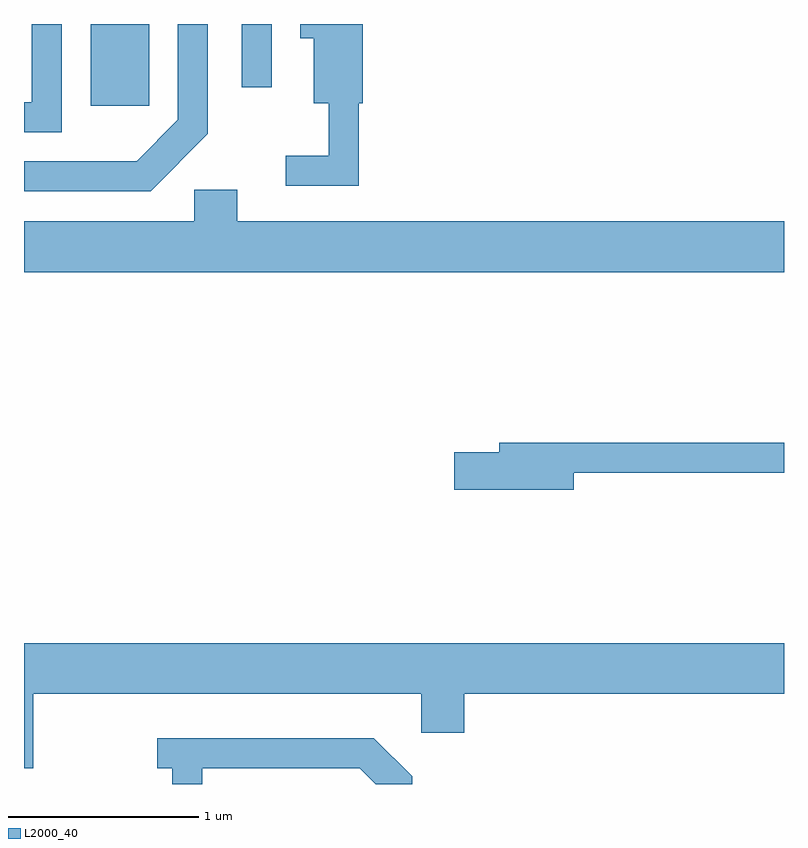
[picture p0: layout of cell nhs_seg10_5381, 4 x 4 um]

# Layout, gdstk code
import gdstk
lib = gdstk.Library(unit=1e-6, precision=1e-09)
def R(c, l, rs):  # rectangles x0, y0, x1, y1
    for r in rs: c.add(gdstk.rectangle(r[:2], r[2:], *l))
def P(c, l, *ps):  # polygons
    for p in ps: c.add(gdstk.Polygon(p, *l))
L2000_40 = (2000, 40)

nhs_seg10_5381 = lib.new_cell('nhs_seg10_5381')
R(nhs_seg10_5381, L2000_40, [(343.961,2148.091,344.269,2148.522), (344.756,2148.188,344.914,2148.522)])
P(nhs_seg10_5381, L2000_40, [(343.809,2148.522),(343.651,2148.522),(343.651,2148.109),(343.611,2148.109),(343.611,2147.951),(343.809,2147.951)],
  [(344.579,2147.944),(344.579,2148.522),(344.421,2148.522),(344.421,2148.017),(344.204,2147.799),(343.611,2147.799),(343.611,2147.641),(344.277,2147.641)],
  [(345.374,2148.106),(345.394,2148.106),(345.394,2148.522),(345.066,2148.522),(345.066,2148.446),(345.136,2148.446),(345.136,2148.106),(345.216,2148.106),(345.216,2147.829),(344.988,2147.829),(344.988,2147.671),(345.374,2147.671)],
  [(347.611,2147.484),(344.734,2147.484),(344.734,2147.649),(344.506,2147.649),(344.506,2147.484),(343.611,2147.484),(343.611,2147.216),(347.611,2147.216)],
  [(346.504,2146.161),(347.611,2146.161),(347.611,2146.319),(346.111,2146.319),(346.111,2146.269),(345.876,2146.269),(345.876,2146.071),(346.504,2146.071)],
  [(343.659,2144.996),(345.701,2144.996),(345.701,2144.791),(345.929,2144.791),(345.929,2144.996),(347.611,2144.996),(347.611,2145.264),(343.611,2145.264),(343.611,2144.606),(343.659,2144.606)],
  [(344.549,2144.606),(345.379,2144.606),(345.463,2144.522),(345.654,2144.522),(345.654,2144.562),(345.452,2144.764),(344.313,2144.764),(344.313,2144.606),(344.391,2144.606),(344.391,2144.522),(344.549,2144.522)])

lib.write_gds('nhs_seg10_5381.gds')
